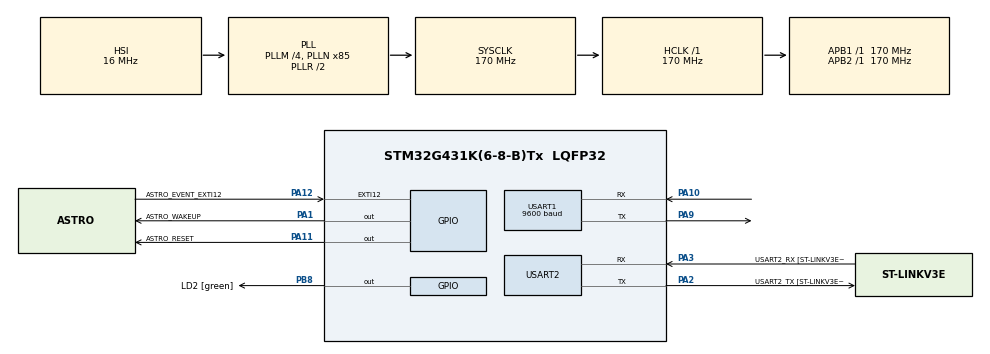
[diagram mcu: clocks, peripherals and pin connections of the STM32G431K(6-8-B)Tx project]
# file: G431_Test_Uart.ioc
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Mcu.Family=STM32G4
Mcu.Name=STM32G431K(6-8-B)Tx
Mcu.Package=LQFP32
NVIC.PriorityGroup=NVIC_PRIORITYGROUP_4
PA1.GPIO_Label=ASTRO_WAKEUP
PA1.Signal=GPIO_Output
PA10.Mode=Asynchronous
PA10.Signal=USART1_RX
PA11.GPIO_Label=ASTRO_RESET
PA11.Signal=GPIO_Output
PA12.GPIO_Label=ASTRO_EVENT_EXTI12
PA12.Signal=GPXTI12
PA13.GPIO_Label=T_SWDIO
PA13.Mode=Serial_Wire
PA13.Signal=SYS_JTMS-SWDIO
PA14.GPIO_Label=T_SWCLK
PA14.Mode=Serial_Wire
PA14.Signal=SYS_JTCK-SWCLK
PA2.GPIO_Label=USART2_TX [ST-LINKV3E_VCP_RX]
PA2.Mode=Asynchronous
PA2.Signal=USART2_TX
PA3.GPIO_Label=USART2_RX [ST-LINKV3E_VCP_TX]
PA3.Mode=Asynchronous
PA3.Signal=USART2_RX
PA9.GPIO_PuPd=GPIO_NOPULL
PA9.Mode=Asynchronous
PA9.Signal=USART1_TX
PB3.GPIO_Label=T_SWO
PB3.Signal=SYS_JTDO-SWO
PB8-BOOT0.GPIO_Label=LD2 [green]
PB8-BOOT0.Signal=GPIO_Output
ProjectManager.HeapSize=0x200
ProjectManager.StackSize=0x400
ProjectManager.TargetToolchain=STM32CubeIDE
RCC.ADC12Freq_Value=170000000
RCC.AHBFreq_Value=170000000
RCC.APB1Freq_Value=170000000
RCC.APB1TimFreq_Value=170000000
RCC.APB2Freq_Value=170000000
RCC.APB2TimFreq_Value=170000000
RCC.CortexFreq_Value=170000000
RCC.EXTERNAL_CLOCK_VALUE=12288000
RCC.HCLKFreq_Value=170000000
RCC.HSE_VALUE=8000000
RCC.HSI48_VALUE=48000000
RCC.HSI_VALUE=16000000
RCC.LSE_VALUE=32768
RCC.PLLM=RCC_PLLM_DIV4
RCC.PLLN=85
RCC.SYSCLKFreq_VALUE=170000000
RCC.SYSCLKSource=RCC_SYSCLKSOURCE_PLLCLK
RCC.USBFreq_Value=170000000
RCC.VCOOutputFreq_Value=340000000
RTC.Alarm=RTC_ALARM_A
RTC.AlarmDateWeekDay=14
RTC.AlarmMaskDateWeekDay=RTC_ALARMMASK_DATEWEEKDAY
RTC.AlarmMaskHours=RTC_ALARMMASK_HOURS
RTC.AlarmMaskMinutes=RTC_ALARMMASK_MINUTES
RTC.Date=13
RTC.Format=RTC_FORMAT_BIN
RTC.Hours=23
RTC.Minutes=59
RTC.Month=RTC_MONTH_SEPTEMBER
RTC.Seconds=50
RTC.Seconds_A=11
RTC.WeekDay=RTC_WEEKDAY_WEDNESDAY
RTC.Year=23
USART1.BaudRate=9600
USART1.VirtualMode-Asynchronous=VM_ASYNC
USART2.VirtualMode-Asynchronous=VM_ASYNC
USART2.WordLength=WORDLENGTH_8B
VP_RTC_VS_RTC_Activate.Mode=RTC_Enabled
VP_RTC_VS_RTC_Alarm_A_Intern.Mode=Alarm A
VP_RTC_VS_RTC_Calendar.Mode=RTC_Calendar
board=NUCLEO-G431KB

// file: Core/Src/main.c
/* USER CODE BEGIN Header */
/**
  ******************************************************************************
  * @file           : main.c
  * @brief          : Main program body
  ******************************************************************************
  * @attention
  *
  * Copyright (c) 2023 STMicroelectronics.
  * All rights reserved.
  *
  * This software is licensed under terms that can be found in the LICENSE file
  * in the root directory of this software component.
  * If no LICENSE file comes with this software, it is provided AS-IS.
  *
  ******************************************************************************
  */
/* USER CODE END Header */
#include "main.h"

/* USER CODE BEGIN Includes */
#include <stdio.h>
#include <string.h>
#include <astronode_definitions.h>
#include <astronode_application.h>
#include "my_rtc_g431.h"
/* USER CODE END Includes */

/* USER CODE BEGIN PD */
#define HUART_ASTRO						&huart1
#define HUART_USB						&huart2
#define UART_TX_TIMEOUT					100
#define UART_ASTRO_RX_MAX_BUFF_SIZE		100
#define UART_USB_RX_MAX_BUFF_SIZE		100
#define UART_TX_MAX_BUFF_SIZE			250
/* USER CODE END PD */

RTC_HandleTypeDef hrtc;

UART_HandleTypeDef huart1;
UART_HandleTypeDef huart2;

/* USER CODE BEGIN PV */
uint32_t 	message_timer = 60000  /* 5 min.  900000  15 min.  60000  1 min. */ ;
uint16_t	g_payload_id_counter = 0 ;
uint8_t		g_number_of_message_to_send = 1 ;
uint32_t	print_housekeeping_timer = 0 ;
//uint32_t	current_housekeeping_timer = 0 ;
HAL_StatusTypeDef result = HAL_ERROR ; // HAL_OK = 0x00, HAL_ERROR = 0x01, HAL_BUSY = 0x02, HAL_TIMEOUT = 0x03
GPIO_PinState astro_reset_state = GPIO_PIN_SET ; //GPIO_PIN_RESET = 0U, GPIO_PIN_SET
GPIO_PinState astro_event_state = GPIO_PIN_SET ; //GPIO_PIN_RESET = 0U, GPIO_PIN_SET
char payload[ASTRONODE_APP_PAYLOAD_MAX_LEN_BYTES] = {0};

RTC_TimeTypeDef sTime ;
RTC_DateTypeDef sDate ;
RTC_AlarmTypeDef sAlarm ;
char buffer[16] ;
/* USER CODE END PV */

void SystemClock_Config(void);
static void MX_GPIO_Init(void);
static void MX_USART2_UART_Init(void);
static void MX_USART1_UART_Init(void);
static void MX_RTC_Init(void);
/* USER CODE BEGIN PFP */
void send_debug_logs ( char* ) ;
void reset_astronode ( void ) ;
void send_astronode_request ( uint8_t* , uint32_t ) ;
uint32_t get_systick ( void ) ;
bool is_systick_timeout_over ( uint32_t , uint16_t ) ;
bool is_astronode_character_received ( uint8_t* ) ;
bool is_evt_pin_high ( void ) ;
bool is_message_available ( void ) ;
/* USER CODE END PFP */

int main(void)
{

  /* MCU Configuration--------------------------------------------------------*/

  /* Reset of all peripherals, Initializes the Flash interface and the Systick. */
  HAL_Init();

  /* Configure the system clock */
  SystemClock_Config();

  /* Initialize all configured peripherals */
  MX_GPIO_Init();
  MX_USART2_UART_Init();
  MX_USART1_UART_Init();
  MX_RTC_Init();
  /* USER CODE BEGIN 2 */
  send_debug_logs ( "\nStart the application." ) ;
  send_debug_logs ( "\nW produkcji nie zmieniaj MCU ani przyporzadkowania pinow PA9-12.\n" ) ;

  // Set the time to 09:00:00 and the date to 2023-09-30 (Saturday)
  set_rtc_time ( 0x09 , 0x00 , 0x00 , 0x06 , 0x09 , 0x30 , 0x23 ) ;
  get_rtc_time () ;

  // A reset will cause exit Validation mode.
  reset_astronode () ;

  print_housekeeping_timer = get_systick () ;

  // Send config write with:
  // EVT pin shows sat ack
  // No geolocation
  // Ephemeris Enable
  // Deep Sleep not used
  // EVT pin shows Message Ack
  // EVT pin shows Reset
  // EVT pin shows downlink command available
  // EVT pin did not show tx message pending (keep it to false in this example)
  astronode_send_cfg_wr ( true , false , true , false , true , true , true , false ) ;
  //astronode_send_cfg_wr ( true , false , true , false , true , true , true , false ) ;
  astronode_send_cfg_sr () ;
  astronode_send_mpn_rr () ;
  astronode_send_msn_rr () ;
  astronode_send_mgi_rr () ;
  /* USER CODE END 2 */

  /* Infinite loop */
  /* USER CODE BEGIN WHILE */
  while (1)
  {
	  if (is_evt_pin_high())
	  {
		  send_debug_logs("Evt pin is high.");
		  astronode_send_evt_rr();

		  if (is_sak_available())
		  {
			  astronode_send_sak_rr();
			  astronode_send_sak_cr();
			  send_debug_logs("Message has been acknowledged.");
			  astronode_send_per_rr();
		  }

		  if (is_astronode_reset())
		  {
			  send_debug_logs("Terminal has been reset.");
			  astronode_send_res_cr();
		  }

		  if (is_command_available())
		  {
			  send_debug_logs("Unicast command is available");
			  astronode_send_cmd_rr();
			  astronode_send_cmd_cr();
		  }
	  }
	  else if ( is_message_available () )
	  {
		  send_debug_logs ( "The button is pressed." ) ;
		  astronode_send_pld_fr () ;

		  g_payload_id_counter++;
		  char payload[ASTRONODE_APP_PAYLOAD_MAX_LEN_BYTES] = {0};

		  sprintf ( payload , "TsatMessage %d" , g_payload_id_counter ) ;

		  astronode_send_pld_er ( g_payload_id_counter , payload , strlen ( payload ) ) ;
	  }
	  //current_housekeeping_timer = get_systick () ;
	  if ( get_systick () - print_housekeeping_timer >  message_timer )
	  {
		  g_number_of_message_to_send++ ;
		  send_debug_logs("g_number_of_message_to_send++");
		  astronode_send_rtc_rr ();
		  astronode_send_nco_rr () ;
		  astronode_send_lcd_rr () ;
		  astronode_send_end_rr () ;
		  astronode_send_per_rr () ;
		  print_housekeeping_timer = get_systick () ;
	  }
	  //HAL_RTC_GetTime ( &hrtc , &sTime , RTC_FORMAT_BIN ) ;
	  //HAL_RTC_GetDate ( &hrtc , &sDate , RTC_FORMAT_BIN ) ;
	  //HAL_StatusTypeDef al = HAL_RTC_GetAlarm ( &hrtc , &sAlarm , RTC_ALARM_A , RTC_FORMAT_BIN ) ;
	  //send_debug_logs ( "\nHAL_RTCEx_AlarmAEventCallback1" ) ;
	  //HAL_SuspendTick () ;
	  //HAL_PWREx_EnterSTOP0Mode ( PWR_STOPENTRY_WFE ) ;
	  //SystemClock_Config () ;
	  //HAL_ResumeTick () ;
	  //HAL_PWR_EnterSTANDBYMode () ;

    /* USER CODE END WHILE */

  }
}

void SystemClock_Config(void)
{
  RCC_OscInitTypeDef RCC_OscInitStruct = {0};
  RCC_ClkInitTypeDef RCC_ClkInitStruct = {0};

  /** Configure the main internal regulator output voltage
  */
  HAL_PWREx_ControlVoltageScaling(PWR_REGULATOR_VOLTAGE_SCALE1_BOOST);

  /** Initializes the RCC Oscillators according to the specified parameters
  * in the RCC_OscInitTypeDef structure.
  */
  RCC_OscInitStruct.OscillatorType = RCC_OSCILLATORTYPE_HSI|RCC_OSCILLATORTYPE_LSI;
  RCC_OscInitStruct.HSIState = RCC_HSI_ON;
  RCC_OscInitStruct.HSICalibrationValue = RCC_HSICALIBRATION_DEFAULT;
  RCC_OscInitStruct.LSIState = RCC_LSI_ON;
  RCC_OscInitStruct.PLL.PLLState = RCC_PLL_ON;
  RCC_OscInitStruct.PLL.PLLSource = RCC_PLLSOURCE_HSI;
  RCC_OscInitStruct.PLL.PLLM = RCC_PLLM_DIV4;
  RCC_OscInitStruct.PLL.PLLN = 85;
  RCC_OscInitStruct.PLL.PLLP = RCC_PLLP_DIV2;
  RCC_OscInitStruct.PLL.PLLQ = RCC_PLLQ_DIV2;
  RCC_OscInitStruct.PLL.PLLR = RCC_PLLR_DIV2;
  if (HAL_RCC_OscConfig(&RCC_OscInitStruct) != HAL_OK)
  {
    Error_Handler();
  }

  /** Initializes the CPU, AHB and APB buses clocks
  */
  RCC_ClkInitStruct.ClockType = RCC_CLOCKTYPE_HCLK|RCC_CLOCKTYPE_SYSCLK
                              |RCC_CLOCKTYPE_PCLK1|RCC_CLOCKTYPE_PCLK2;
  RCC_ClkInitStruct.SYSCLKSource = RCC_SYSCLKSOURCE_PLLCLK;
  RCC_ClkInitStruct.AHBCLKDivider = RCC_SYSCLK_DIV1;
  RCC_ClkInitStruct.APB1CLKDivider = RCC_HCLK_DIV1;
  RCC_ClkInitStruct.APB2CLKDivider = RCC_HCLK_DIV1;

  if (HAL_RCC_ClockConfig(&RCC_ClkInitStruct, FLASH_LATENCY_4) != HAL_OK)
  {
    Error_Handler();
  }
}

static void MX_RTC_Init(void)
{

  RTC_TimeTypeDef sTime = {0};
  RTC_DateTypeDef sDate = {0};
  RTC_AlarmTypeDef sAlarm = {0};

  /** Initialize RTC Only
  */
  hrtc.Instance = RTC;
  hrtc.Init.HourFormat = RTC_HOURFORMAT_24;
  hrtc.Init.AsynchPrediv = 127;
  hrtc.Init.SynchPrediv = 255;
  hrtc.Init.OutPut = RTC_OUTPUT_DISABLE;
  hrtc.Init.OutPutRemap = RTC_OUTPUT_REMAP_NONE;
  hrtc.Init.OutPutPolarity = RTC_OUTPUT_POLARITY_HIGH;
  hrtc.Init.OutPutType = RTC_OUTPUT_TYPE_OPENDRAIN;
  hrtc.Init.OutPutPullUp = RTC_OUTPUT_PULLUP_NONE;
  if (HAL_RTC_Init(&hrtc) != HAL_OK)
  {
    Error_Handler();
  }

  /** Initialize RTC and set the Time and Date
  */
  sTime.Hours = 23;
  sTime.Minutes = 59;
  sTime.Seconds = 50;
  sTime.SubSeconds = 0;
  sTime.DayLightSaving = RTC_DAYLIGHTSAVING_NONE;
  sTime.StoreOperation = RTC_STOREOPERATION_RESET;
  if (HAL_RTC_SetTime(&hrtc, &sTime, RTC_FORMAT_BIN) != HAL_OK)
  {
    Error_Handler();
  }
  sDate.WeekDay = RTC_WEEKDAY_WEDNESDAY;
  sDate.Month = RTC_MONTH_SEPTEMBER;
  sDate.Date = 13;
  sDate.Year = 23;
  if (HAL_RTC_SetDate(&hrtc, &sDate, RTC_FORMAT_BIN) != HAL_OK)
  {
    Error_Handler();
  }

  /** Enable the Alarm A
  */
  sAlarm.AlarmTime.Hours = 0;
  sAlarm.AlarmTime.Minutes = 0;
  sAlarm.AlarmTime.Seconds = 11;
  sAlarm.AlarmTime.SubSeconds = 0;
  sAlarm.AlarmMask = RTC_ALARMMASK_DATEWEEKDAY|RTC_ALARMMASK_HOURS
                              |RTC_ALARMMASK_MINUTES;
  sAlarm.AlarmSubSecondMask = RTC_ALARMSUBSECONDMASK_ALL;
  sAlarm.AlarmDateWeekDaySel = RTC_ALARMDATEWEEKDAYSEL_DATE;
  sAlarm.AlarmDateWeekDay = 14;
  sAlarm.Alarm = RTC_ALARM_A;
  if (HAL_RTC_SetAlarm(&hrtc, &sAlarm, RTC_FORMAT_BIN) != HAL_OK)
  {
    Error_Handler();
  }

}

static void MX_USART1_UART_Init(void)
{

  huart1.Instance = USART1;
  huart1.Init.BaudRate = 9600;
  huart1.Init.WordLength = UART_WORDLENGTH_8B;
  huart1.Init.StopBits = UART_STOPBITS_1;
  huart1.Init.Parity = UART_PARITY_NONE;
  huart1.Init.Mode = UART_MODE_TX_RX;
  huart1.Init.HwFlowCtl = UART_HWCONTROL_NONE;
  huart1.Init.OverSampling = UART_OVERSAMPLING_16;
  huart1.Init.OneBitSampling = UART_ONE_BIT_SAMPLE_DISABLE;
  huart1.Init.ClockPrescaler = UART_PRESCALER_DIV1;
  huart1.AdvancedInit.AdvFeatureInit = UART_ADVFEATURE_NO_INIT;
  if (HAL_UART_Init(&huart1) != HAL_OK)
  {
    Error_Handler();
  }
  if (HAL_UARTEx_SetTxFifoThreshold(&huart1, UART_TXFIFO_THRESHOLD_1_8) != HAL_OK)
  {
    Error_Handler();
  }
  if (HAL_UARTEx_SetRxFifoThreshold(&huart1, UART_RXFIFO_THRESHOLD_1_8) != HAL_OK)
  {
    Error_Handler();
  }
  if (HAL_UARTEx_DisableFifoMode(&huart1) != HAL_OK)
  {
    Error_Handler();
  }

}

static void MX_USART2_UART_Init(void)
{

  huart2.Instance = USART2;
  huart2.Init.BaudRate = 115200;
  huart2.Init.WordLength = UART_WORDLENGTH_8B;
  huart2.Init.StopBits = UART_STOPBITS_1;
  huart2.Init.Parity = UART_PARITY_NONE;
  huart2.Init.Mode = UART_MODE_TX_RX;
  huart2.Init.HwFlowCtl = UART_HWCONTROL_NONE;
  huart2.Init.OverSampling = UART_OVERSAMPLING_16;
  huart2.Init.OneBitSampling = UART_ONE_BIT_SAMPLE_DISABLE;
  huart2.Init.ClockPrescaler = UART_PRESCALER_DIV1;
  huart2.AdvancedInit.AdvFeatureInit = UART_ADVFEATURE_NO_INIT;
  if (HAL_UART_Init(&huart2) != HAL_OK)
  {
    Error_Handler();
  }
  if (HAL_UARTEx_SetTxFifoThreshold(&huart2, UART_TXFIFO_THRESHOLD_1_8) != HAL_OK)
  {
    Error_Handler();
  }
  if (HAL_UARTEx_SetRxFifoThreshold(&huart2, UART_RXFIFO_THRESHOLD_1_8) != HAL_OK)
  {
    Error_Handler();
  }
  if (HAL_UARTEx_DisableFifoMode(&huart2) != HAL_OK)
  {
    Error_Handler();
  }

}

static void MX_GPIO_Init(void)
{
  GPIO_InitTypeDef GPIO_InitStruct = {0};

  /* GPIO Ports Clock Enable */
  __HAL_RCC_GPIOA_CLK_ENABLE();
  __HAL_RCC_GPIOB_CLK_ENABLE();

  /*Configure GPIO pin Output Level */
  HAL_GPIO_WritePin(GPIOA, ASTRO_WAKEUP_Pin|ASTRO_RESET_Pin, GPIO_PIN_RESET);

  /*Configure GPIO pin Output Level */
  HAL_GPIO_WritePin(LD2_GPIO_Port, LD2_Pin, GPIO_PIN_RESET);

  /*Configure GPIO pins : ASTRO_WAKEUP_Pin ASTRO_RESET_Pin */
  GPIO_InitStruct.Pin = ASTRO_WAKEUP_Pin|ASTRO_RESET_Pin;
  GPIO_InitStruct.Mode = GPIO_MODE_OUTPUT_PP;
  GPIO_InitStruct.Pull = GPIO_NOPULL;
  GPIO_InitStruct.Speed = GPIO_SPEED_FREQ_LOW;
  HAL_GPIO_Init(GPIOA, &GPIO_InitStruct);

  /*Configure GPIO pin : ASTRO_EVENT_EXTI12_Pin */
  GPIO_InitStruct.Pin = ASTRO_EVENT_EXTI12_Pin;
  GPIO_InitStruct.Mode = GPIO_MODE_IT_RISING;
  GPIO_InitStruct.Pull = GPIO_NOPULL;
  HAL_GPIO_Init(ASTRO_EVENT_EXTI12_GPIO_Port, &GPIO_InitStruct);

  /*Configure GPIO pin : LD2_Pin */
  GPIO_InitStruct.Pin = LD2_Pin;
  GPIO_InitStruct.Mode = GPIO_MODE_OUTPUT_PP;
  GPIO_InitStruct.Pull = GPIO_NOPULL;
  GPIO_InitStruct.Speed = GPIO_SPEED_FREQ_LOW;
  HAL_GPIO_Init(LD2_GPIO_Port, &GPIO_InitStruct);

}

/* USER CODE BEGIN 4 */
void send_debug_logs ( char* p_tx_buffer )
{
    uint32_t length = strlen ( p_tx_buffer ) ;

    if ( length > UART_TX_MAX_BUFF_SIZE )
    {
        HAL_UART_Transmit ( HUART_USB , ( uint8_t* ) "[ERROR] UART buffer reached max length.\n" , 42 , 1000 ) ;
        length = UART_TX_MAX_BUFF_SIZE;
    }

    HAL_UART_Transmit ( HUART_USB , ( uint8_t* ) p_tx_buffer , length , 1000 ) ;
    HAL_UART_Transmit ( HUART_USB , ( uint8_t* ) "\n" , 1 , 1000 ) ;
}
void reset_astronode ( void )
{
    HAL_GPIO_WritePin ( ASTRO_RESET_GPIO_Port , ASTRO_RESET_Pin , GPIO_PIN_SET ) ;
    HAL_Delay ( 1 ) ;
    HAL_GPIO_WritePin ( ASTRO_RESET_GPIO_Port , ASTRO_RESET_Pin , GPIO_PIN_RESET ) ;
    HAL_Delay ( 250 ) ;
}
void send_astronode_request ( uint8_t* p_tx_buffer , uint32_t length )
{
    send_debug_logs ( "Message sent to the Astronode --> " ) ;
    send_debug_logs ( ( char* ) p_tx_buffer ) ;

    HAL_UART_Transmit ( HUART_ASTRO , p_tx_buffer , length , 1000 ) ;
}
uint32_t get_systick ( void )
{
    return HAL_GetTick();
}
bool is_systick_timeout_over ( uint32_t starting_value , uint16_t duration )
{
    return ( get_systick () - starting_value > duration ) ? true : false ;
}
bool is_astronode_character_received ( uint8_t* p_rx_char )
{
    return ( HAL_UART_Receive ( HUART_ASTRO , p_rx_char , 1 , 100 ) == HAL_OK ? true : false ) ;
}
bool is_evt_pin_high ( void )
{
    return ( HAL_GPIO_ReadPin ( ASTRO_EVENT_EXTI12_GPIO_Port , ASTRO_EVENT_EXTI12_Pin ) == GPIO_PIN_SET ? true : false ) ;
}
bool is_message_available ( void )
{
    if ( g_number_of_message_to_send > 0 )
    {
        g_number_of_message_to_send--;
        return true;
    }
    else
    {
        return false;
    }
}

/* USER CODE END 4 */

void Error_Handler(void)
{
  __disable_irq();
  while (1)
  {
  }
}
